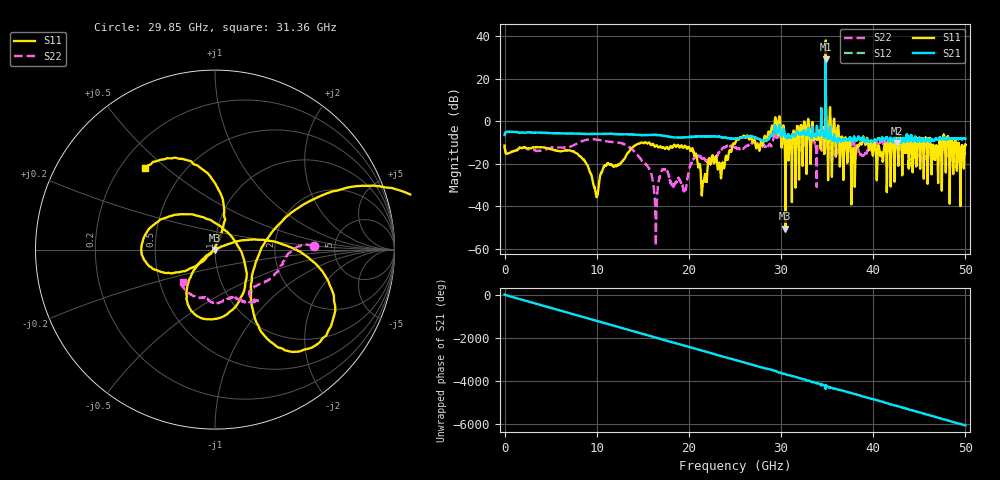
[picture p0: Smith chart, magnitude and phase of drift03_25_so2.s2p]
!Created with skrf (http://scikit-rf.org).
# Hz S RI R 50.0
!freq ReS11 ImS11 ReS21 ImS21 ReS12 ImS12 ReS22 ImS22
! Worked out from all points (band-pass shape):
!   10001 points, 300 kHz to 50 GHz, reference 50 ohm
!   highest |S21| = 29.11 dB at 34.85 GHz (marker M1); lowest = -10.3 dB at 42.55 GHz (marker M2)
!   |S21| within 3 dB of the highest: 34.84388 GHz to 34.84597 GHz (2.091 MHz wide, 0.006 % of centre)
!   lowest |S11| = -50.6 dB at 30.47 GHz (marker M3), VSWR 1.01, Z = 49.8 - j0.179 ohm
!   |S11| at or under -10 dB: start of sweep to 15.22 GHz; 15.33 GHz to 25.05 GHz (9.727 GHz wide, 48.2 % of centre); 40.22 GHz to 41.63 GHz (1.414 GHz wide, 3.46 % of centre) (the widest 3 of 56)
!   |S22| runs from -58.9 to 20.1 dB; largest |S21 - S12| = 4.1
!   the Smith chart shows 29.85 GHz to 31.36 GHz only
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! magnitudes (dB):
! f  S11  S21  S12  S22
! 300 kHz  -11.5  -6.5  -6.5  -11.5
! 8.335 GHz  -17.1  -6.0  -6.0  -9.6
! 9.955 GHz  -35.4  -6.1  -6.1  -8.7
! 11 GHz  -20.9  -6.0  -6.1  -9.5
! 13.92 GHz  -12.3  -6.3  -6.3  -13.6
! 16.36 GHz  -11.9  -6.5  -6.5  -43.2
! 16.67 GHz  -12.4  -6.6  -6.5  -29.6
! 17.33 GHz  -12.7  -6.9  -6.9  -22.9
! 19.55 GHz  -11.7  -7.7  -7.7  -32.6
! 20.21 GHz  -13.9  -7.4  -7.5  -20.2
! 21.55 GHz  -28.5  -7.2  -7.2  -17.9
! 25 GHz  -10.6  -8.3  -8.2  -12.6
! 29.6 GHz  -5.5  -5.7  -5.9  -7.9
! 30.47 GHz  -50.6  -7.2  -7.2  -9.1
! 33.34 GHz  -3.8  -6.8  -6.8  -9.3
! 34.85 GHz  38.0  29.1  28.9  20.1
! 35.64 GHz  -5.8  -9.2  -9.0  -15.5
! 37.82 GHz  -12.9  -8.3  -8.4  -9.9
! 38.81 GHz  -9.2  -8.3  -8.3  -16.0
! 41.67 GHz  -9.6  -9.4  -9.3  -11.3
! 42.55 GHz  -8.3  -10.3  -10.4  -13.1
! 50 GHz  -11.1  -8.2  -8.2  -15.4
